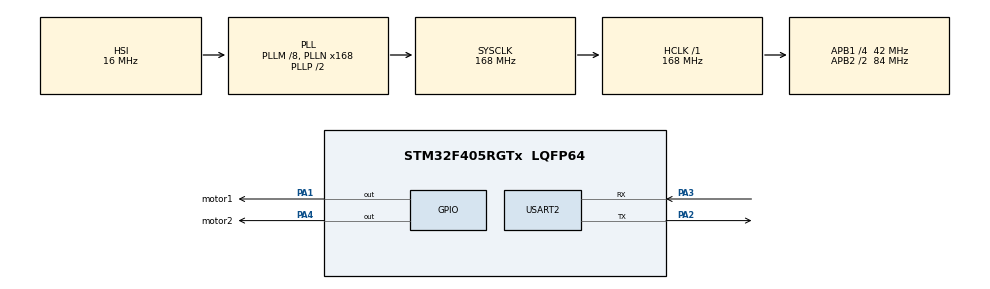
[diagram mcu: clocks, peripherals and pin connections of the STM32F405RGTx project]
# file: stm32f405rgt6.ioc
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Mcu.Family=STM32F4
Mcu.Name=STM32F405RGTx
Mcu.Package=LQFP64
NVIC.PriorityGroup=NVIC_PRIORITYGROUP_4
PA1.GPIO_Label=motor1
PA1.Signal=GPIO_Output
PA2.Mode=Asynchronous
PA2.Signal=USART2_TX
PA3.Mode=Asynchronous
PA3.Signal=USART2_RX
PA4.GPIO_Label=motor2
PA4.Signal=GPIO_Output
PH0-OSC_IN.Mode=HSE-External-Oscillator
PH0-OSC_IN.Signal=RCC_OSC_IN
PH1-OSC_OUT.Mode=HSE-External-Oscillator
PH1-OSC_OUT.Signal=RCC_OSC_OUT
ProjectManager.HeapSize=0x200
ProjectManager.StackSize=0x400
ProjectManager.TargetToolchain=STM32CubeIDE
RCC.48MHZClocksFreq_Value=84000000
RCC.AHBFreq_Value=168000000
RCC.APB1CLKDivider=RCC_HCLK_DIV4
RCC.APB1Freq_Value=42000000
RCC.APB1TimFreq_Value=84000000
RCC.APB2CLKDivider=RCC_HCLK_DIV2
RCC.APB2Freq_Value=84000000
RCC.APB2TimFreq_Value=168000000
RCC.CortexFreq_Value=168000000
RCC.HCLKFreq_Value=168000000
RCC.HSE_VALUE=25000000
RCC.HSI_VALUE=16000000
RCC.LSE_VALUE=32768
RCC.PLLM=8
RCC.PLLN=168
RCC.SYSCLKFreq_VALUE=168000000
RCC.SYSCLKSource=RCC_SYSCLKSOURCE_PLLCLK
RCC.VCOOutputFreq_Value=336000000
USART2.VirtualMode=VM_ASYNC
board=custom

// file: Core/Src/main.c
/* USER CODE BEGIN Header */
/**
  ******************************************************************************
  * @file           : main.c
  * @brief          : Main program body
  ******************************************************************************
  * @attention
  *
  * Copyright (c) 2025 STMicroelectronics.
  * All rights reserved.
  *
  * This software is licensed under terms that can be found in the LICENSE file
  * in the root directory of this software component.
  * If no LICENSE file comes with this software, it is provided AS-IS.
  *
  ******************************************************************************
  */
/* USER CODE END Header */
#include "main.h"

/* USER CODE BEGIN Includes */
#include <stdio.h>
#include <stdlib.h>
#include <string.h>
/* USER CODE END Includes */

UART_HandleTypeDef huart2;

void SystemClock_Config(void);
static void MX_GPIO_Init(void);
static void MX_USART2_UART_Init(void);

/* USER CODE BEGIN 0 */
uint8_t data;

/* USER CODE END 0 */

int main(void)
{

  /* MCU Configuration--------------------------------------------------------*/

  /* Reset of all peripherals, Initializes the Flash interface and the Systick. */
  HAL_Init();

  /* Configure the system clock */
  SystemClock_Config();

  /* Initialize all configured peripherals */
  MX_GPIO_Init();
  MX_USART2_UART_Init();
  /* USER CODE BEGIN 2 */
  char move_forward[] = "robot move forward\n";
  char move_reverse[] = "robot move reverse\n";
  char move_left[] = "robot move left\n";
  char move_right[] = "robot move right\n";
  char move_stop[] = "robot stop\n";
  /* USER CODE END 2 */

  /* Infinite loop */
  /* USER CODE BEGIN WHILE */
  while (1)
  {
	  if (HAL_UART_Receive(&huart2, &data, 1, 100) == HAL_OK) {
	      switch(data) {
	      case '1':
	    	  HAL_GPIO_WritePin(motor1_GPIO_Port, motor1_Pin, GPIO_PIN_SET);
	          HAL_GPIO_WritePin(motor2_GPIO_Port, motor2_Pin, GPIO_PIN_RESET);
	          HAL_UART_Transmit(&huart2, (uint8_t*)move_forward, strlen(move_forward), 100);
	          break;
	      case '5':
	    	  HAL_GPIO_WritePin(motor1_GPIO_Port, motor1_Pin, GPIO_PIN_RESET);
	          HAL_GPIO_WritePin(motor2_GPIO_Port, motor2_Pin, GPIO_PIN_RESET);
	      	  HAL_UART_Transmit(&huart2, (uint8_t*)move_stop, strlen(move_stop), 100);
              break;
	      }
    }
    /* USER CODE END WHILE */

  }
}

void SystemClock_Config(void)
{
  RCC_OscInitTypeDef RCC_OscInitStruct = {0};
  RCC_ClkInitTypeDef RCC_ClkInitStruct = {0};

  /** Configure the main internal regulator output voltage
  */
  __HAL_RCC_PWR_CLK_ENABLE();
  __HAL_PWR_VOLTAGESCALING_CONFIG(PWR_REGULATOR_VOLTAGE_SCALE1);

  /** Initializes the RCC Oscillators according to the specified parameters
  * in the RCC_OscInitTypeDef structure.
  */
  RCC_OscInitStruct.OscillatorType = RCC_OSCILLATORTYPE_HSI;
  RCC_OscInitStruct.HSIState = RCC_HSI_ON;
  RCC_OscInitStruct.HSICalibrationValue = RCC_HSICALIBRATION_DEFAULT;
  RCC_OscInitStruct.PLL.PLLState = RCC_PLL_ON;
  RCC_OscInitStruct.PLL.PLLSource = RCC_PLLSOURCE_HSI;
  RCC_OscInitStruct.PLL.PLLM = 8;
  RCC_OscInitStruct.PLL.PLLN = 168;
  RCC_OscInitStruct.PLL.PLLP = RCC_PLLP_DIV2;
  RCC_OscInitStruct.PLL.PLLQ = 4;
  if (HAL_RCC_OscConfig(&RCC_OscInitStruct) != HAL_OK)
  {
    Error_Handler();
  }

  /** Initializes the CPU, AHB and APB buses clocks
  */
  RCC_ClkInitStruct.ClockType = RCC_CLOCKTYPE_HCLK|RCC_CLOCKTYPE_SYSCLK
                              |RCC_CLOCKTYPE_PCLK1|RCC_CLOCKTYPE_PCLK2;
  RCC_ClkInitStruct.SYSCLKSource = RCC_SYSCLKSOURCE_PLLCLK;
  RCC_ClkInitStruct.AHBCLKDivider = RCC_SYSCLK_DIV1;
  RCC_ClkInitStruct.APB1CLKDivider = RCC_HCLK_DIV4;
  RCC_ClkInitStruct.APB2CLKDivider = RCC_HCLK_DIV2;

  if (HAL_RCC_ClockConfig(&RCC_ClkInitStruct, FLASH_LATENCY_5) != HAL_OK)
  {
    Error_Handler();
  }
}

static void MX_USART2_UART_Init(void)
{

  huart2.Instance = USART2;
  huart2.Init.BaudRate = 115200;
  huart2.Init.WordLength = UART_WORDLENGTH_8B;
  huart2.Init.StopBits = UART_STOPBITS_1;
  huart2.Init.Parity = UART_PARITY_NONE;
  huart2.Init.Mode = UART_MODE_TX_RX;
  huart2.Init.HwFlowCtl = UART_HWCONTROL_NONE;
  huart2.Init.OverSampling = UART_OVERSAMPLING_16;
  if (HAL_UART_Init(&huart2) != HAL_OK)
  {
    Error_Handler();
  }

}

static void MX_GPIO_Init(void)
{
  GPIO_InitTypeDef GPIO_InitStruct = {0};

  /* GPIO Ports Clock Enable */
  __HAL_RCC_GPIOH_CLK_ENABLE();
  __HAL_RCC_GPIOA_CLK_ENABLE();

  /*Configure GPIO pin Output Level */
  HAL_GPIO_WritePin(GPIOA, motor1_Pin|motor2_Pin, GPIO_PIN_RESET);

  /*Configure GPIO pins : motor1_Pin motor2_Pin */
  GPIO_InitStruct.Pin = motor1_Pin|motor2_Pin;
  GPIO_InitStruct.Mode = GPIO_MODE_OUTPUT_PP;
  GPIO_InitStruct.Pull = GPIO_NOPULL;
  GPIO_InitStruct.Speed = GPIO_SPEED_FREQ_LOW;
  HAL_GPIO_Init(GPIOA, &GPIO_InitStruct);

}

void Error_Handler(void)
{
  __disable_irq();
  while (1)
  {
  }
}
